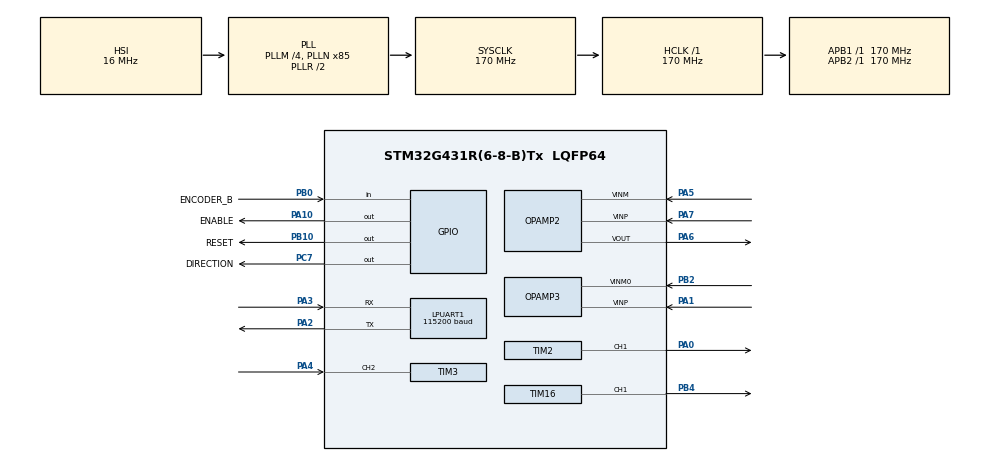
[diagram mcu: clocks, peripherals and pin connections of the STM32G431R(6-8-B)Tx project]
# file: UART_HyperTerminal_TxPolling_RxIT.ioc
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ADC2.Channel-1\#ChannelRegularConversion=ADC_CHANNEL_VOPAMP3_ADC2
ADC2.NbrOfConversionFlag=1
ADC2.OffsetNumber-1\#ChannelRegularConversion=ADC_OFFSET_NONE
ADC2.Rank-1\#ChannelRegularConversion=1
ADC2.SamplingTime-1\#ChannelRegularConversion=ADC_SAMPLETIME_640CYCLES_5
LPUART1.BaudRate=115200
LPUART1.DMADisableonRxErrorParam-Asynchronous=UART_ADVFEATURE_DMA_ENABLEONRXERROR
LPUART1.DataInvertParam-Asynchronous=UART_ADVFEATURE_DATAINV_DISABLE
LPUART1.MSBFirstParam-Asynchronous=UART_ADVFEATURE_MSBFIRST_DISABLE
LPUART1.Mode-Asynchronous=UART_MODE_TX_RX
LPUART1.OneBitSampling=UART_ONE_BIT_SAMPLE_DISABLE
LPUART1.OverrunDisableParam-Asynchronous=UART_ADVFEATURE_OVERRUN_ENABLE
LPUART1.Parity=UART_PARITY_EVEN
LPUART1.Parity-Asynchronous=UART_PARITY_ODD
LPUART1.RXFIFOThreshold-Asynchronous=UART_RXFIFO_THRESHOLD_1_8
LPUART1.RxPinLevelInvertParam-Asynchronous=UART_ADVFEATURE_RXINV_DISABLE
LPUART1.StopBits-Asynchronous=UART_STOPBITS_1
LPUART1.SwapParam-Asynchronous=UART_ADVFEATURE_SWAP_DISABLE
LPUART1.TXFIFOThreshold-Asynchronous=UART_TXFIFO_THRESHOLD_1_8
LPUART1.TxPinLevelInvertParam-Asynchronous=UART_ADVFEATURE_TXINV_DISABLE
LPUART1.WordLength=UART_WORDLENGTH_9B
Mcu.Family=STM32G4
Mcu.Name=STM32G431R(6-8-B)Tx
Mcu.Package=LQFP64
NVIC.LPUART1_IRQn=true\:1\:0\:true\:false\:true\:true\:true
NVIC.PriorityGroup=NVIC_PRIORITYGROUP_4
NVIC.TIM3_IRQn=true\:5\:0\:true\:false\:true\:true\:true
OPAMP3.PgaGain=OPAMP_PGA_GAIN_8_OR_MINUS_7
PA0.Signal=S_TIM2_CH1
PA1.Mode=PGA_Internally_Connected
PA1.Signal=OPAMP3_VINP
PA10.GPIO_Label=ENABLE
PA10.GPIO_ModeDefaultOutputPP=GPIO_MODE_OUTPUT_OD
PA10.GPIO_PuPd=GPIO_PULLUP
PA10.PinState=GPIO_PIN_RESET
PA10.Signal=GPIO_Output
PA2.Mode=Asynchronous
PA2.Signal=LPUART1_TX
PA3.Mode=Asynchronous
PA3.Signal=LPUART1_RX
PA4.Signal=S_TIM3_CH2
PA5.Mode=Standalone
PA5.Signal=OPAMP2_VINM
PA6.Mode=Standalone
PA6.Signal=OPAMP2_VOUT
PA7.Mode=Standalone
PA7.Signal=OPAMP2_VINP
PB0.GPIO_Label=ENCODER_B
PB0.Signal=GPIO_Input
PB10.GPIO_Label=RESET
PB10.GPIO_ModeDefaultOutputPP=GPIO_MODE_OUTPUT_PP
PB10.GPIO_Speed=GPIO_SPEED_FREQ_LOW
PB10.Signal=GPIO_Output
PB2.Mode=PGA_Internally_Connected
PB2.Signal=OPAMP3_VINM0
PB4.Signal=S_TIM16_CH1
PC14-OSC32_IN.Mode=LSE-External-Oscillator
PC14-OSC32_IN.Signal=RCC_OSC32_IN
PC15-OSC32_OUT.Mode=LSE-External-Oscillator
PC15-OSC32_OUT.Signal=RCC_OSC32_OUT
PC7.GPIO_Label=DIRECTION
PC7.GPIO_ModeDefaultOutputPP=GPIO_MODE_OUTPUT_OD
PC7.GPIO_PuPd=GPIO_PULLUP
PC7.Signal=GPIO_Output
PF0-OSC_IN.Mode=HSE-External-Oscillator
PF0-OSC_IN.Signal=RCC_OSC_IN
PF1-OSC_OUT.Mode=HSE-External-Oscillator
PF1-OSC_OUT.Signal=RCC_OSC_OUT
ProjectManager.HeapSize=0x200
ProjectManager.StackSize=0x400
ProjectManager.TargetToolchain=STM32CubeIDE
RCC.ADC12Freq_Value=170000000
RCC.AHBFreq_Value=170000000
RCC.APB1Freq_Value=170000000
RCC.APB1TimFreq_Value=170000000
RCC.APB2Freq_Value=170000000
RCC.APB2TimFreq_Value=170000000
RCC.CortexFreq_Value=170000000
RCC.EXTERNAL_CLOCK_VALUE=12288000
RCC.HCLKFreq_Value=170000000
RCC.HSE_VALUE=24000000
RCC.HSI48_VALUE=48000000
RCC.HSI_VALUE=16000000
RCC.PLLM=RCC_PLLM_DIV4
RCC.PLLN=85
RCC.SYSCLKFreq_VALUE=170000000
RCC.SYSCLKSource=RCC_SYSCLKSOURCE_PLLCLK
RCC.USBFreq_Value=170000000
RCC.VCOOutputFreq_Value=340000000
SH.S_TIM16_CH1.0=TIM16_CH1,PWM Generation1 CH1
SH.S_TIM2_CH1.0=TIM2_CH1,PWM Generation1 CH1
SH.S_TIM3_CH2.0=TIM3_CH2,Input_Capture2_from_TI2
TIM16.Channel=TIM_CHANNEL_1
TIM16.PeriodNoDither=2200
TIM2.Channel-PWM\ Generation1\ CH1=TIM_CHANNEL_1
TIM2.PeriodNoDither=1700
TIM2.Prescaler=0
TIM2.PulseNoDither_1=1700
TIM3.Channel-Input_Capture2_from_TI2=TIM_CHANNEL_2
TIM3.ICPolarity_CH2=TIM_INPUTCHANNELPOLARITY_BOTHEDGE
TIM3.PeriodNoDither=0xffff
TIM3.Prescaler=170
VP_ADC2_OPAMP_INTERNAL3.Mode=IN-OPAMP3
VP_SYS_VS_DBSignals.Mode=DisableDeadBatterySignals
VP_TIM16_VS_ClockSourceINT.Mode=Enable_Timer
VP_TIM3_VS_ClockSourceINT.Mode=Internal
board=custom

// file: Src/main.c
/* USER CODE BEGIN Header */
/**
 ******************************************************************************
 * @file    UART/UART_HyperTerminal_TxPolling_RxIT/Src/main.c
 * @author  MCD Application Team
 * @brief   This sample code shows how to use UART HAL and LL APIs to transmit
 *          data in polling mode while receiving data in Interrupt mode, by mixing
 *          use of LL and HAL APIs;
 *          HAL driver is used to perform UART configuration,
 *          then TX transfer procedure is based on HAL APIs use (polling)
 *               RX transfer procedure is based on LL APIs use (IT)
 ******************************************************************************
 * @attention
 *
 * <h2><center>&copy; Copyright (c) 2019 STMicroelectronics.
 * All rights reserved.</center></h2>
 *
 * This software component is licensed by ST under BSD 3-Clause license,
 * the "License"; You may not use this file except in compliance with the
 * License. You may obtain a copy of the License at:
 *                        opensource.org/licenses/BSD-3-Clause
 *
 ******************************************************************************
 */
/* USER CODE END Header */
#include "main.h"

/* USER CODE BEGIN PD */

/* corretti */

//#define Kp_position 2
//#define Ki_position 0.003
//
//#define Kp_RPM 2
//#define Ki_RPM 0.002
//
//#define Kp_current 3
//#define Ki_current 0.003

//#define Kp_position 4
//#define Ki_position 0.01
//
//#define Kp_RPM 7
//#define Ki_RPM 0.03
//
//#define Kp_current 5
//#define Ki_current 0.1

//
#define Kp_position 7
#define Ki_position 0.003

#define Kp_RPM 8
#define Ki_RPM 0.002

#define Kp_current 6
#define Ki_current 0.001

/* USER CODE END PD */

ADC_HandleTypeDef hadc2;

UART_HandleTypeDef hlpuart1;

OPAMP_HandleTypeDef hopamp2;
OPAMP_HandleTypeDef hopamp3;

TIM_HandleTypeDef htim2;
TIM_HandleTypeDef htim3;
TIM_HandleTypeDef htim16;

/* USER CODE BEGIN PV */

/* Buffer used for transmission
uint8_t aTxStartMessage[] = "\n\r **** ciao ****\n\r Enter characters using keyboard ...\n\r";
uint8_t ubSizeToSend = sizeof(aTxStartMessage); */

uint8_t b = 'b';
uint8_t e = 'e';

/* Buffer used for reception */
uint8_t aRXBufferA[RX_BUFFER_SIZE];
uint8_t aRXBufferB[RX_BUFFER_SIZE];
__IO uint32_t uwNbReceivedChars = 0;
__IO uint32_t uwBufferReadyIndication = 0;
uint8_t *pBufferReadyForUser;
uint8_t *pBufferReadyForReception;

int16_t pulse;
float voltage;
uint32_t force;
uint16_t control;
uint16_t duty;
uint32_t buffer;

float rms = 0;
float value = 0;

/* Captured Values */
uint32_t uwIC2Value1 = 0;
uint32_t uwIC2Value2 = 0;
uint32_t uwDiffCapture = 0;

/* Capture index */
uint16_t uhCaptureIndex = 0;

/* Frequency Value */
uint32_t uwFrequency = 0;

/* Speed in Revloution per minute */
int16_t RPM_target = 0;
int16_t RPM_read = 0;

int16_t  error_RPM;
int16_t Integral_error_RPM=0;

/* Current */
int16_t current_target = 0;
int16_t current_read = 0;

int16_t  error_current;
int16_t Integral_error_current=0;

/* Position */
int16_t Encoder_position = 0;
int16_t error_position;
int16_t Position_target = 0;
int16_t Position_read = 0;
int16_t Integral_error_position;

uint16_t gu16_TIM2_OVC;
uint16_t raw;
uint8_t masage[100];

uint8_t stop_flag;

uint16_t previous_time = 0;
uint16_t current_time = 0;
uint16_t elapsed_time = 0;
/* USER CODE END PV */

void SystemClock_Config(void);
static void MX_GPIO_Init(void);
static void MX_LPUART1_UART_Init(void);
static void MX_TIM3_Init(void);
static void MX_TIM16_Init(void);
static void MX_TIM2_Init(void);
static void MX_OPAMP2_Init(void);
static void MX_ADC2_Init(void);
static void MX_OPAMP3_Init(void);

int main(void)
{
  /* USER CODE BEGIN 1 */

	/* STM32G4xx HAL library initialization:
       - Configure the Flash prefetch
       - Systick timer is configured by default as source of time base, but user
         can eventually implement his proper time base source (a general purpose
         timer for example or other time source), keeping in mind that Time base
         duration should be kept 1ms since PPP_TIMEOUT_VALUEs are defined and
         handled in milliseconds basis.
       - Set NVIC Group Priority to 4
       - Low Level Initialization
	 */
  /* USER CODE END 1 */

  /* MCU Configuration--------------------------------------------------------*/

  /* Reset of all peripherals, Initializes the Flash interface and the Systick. */
  HAL_Init();

  /* USER CODE BEGIN Init */
	/* Configure leds */
	BSP_LED_Init(LED2);

  /* USER CODE END Init */

  /* Configure the system clock */
  SystemClock_Config();

  /* Initialize all configured peripherals */
  MX_GPIO_Init();
  MX_LPUART1_UART_Init();
  MX_TIM3_Init();
  MX_TIM16_Init();
  MX_TIM2_Init();
  MX_OPAMP2_Init();
  MX_ADC2_Init();
  MX_OPAMP3_Init();
  /* USER CODE BEGIN 2 */

	/*## Configure UART peripheral for reception process (using LL) ##########*/
	/* Initializes Buffer swap mechanism :
     2 physical buffers aRXBufferA and aRXBufferB (RX_BUFFER_SIZE length)
     Any data received will be stored in active buffer : the number max of
     data received is RX_BUFFER_SIZE */
	pBufferReadyForReception = aRXBufferA;
	pBufferReadyForUser      = aRXBufferB;
	uwNbReceivedChars = 0;
	uwBufferReadyIndication = 0;
	pulse = 0;
	voltage = 0;
	/* Enable RXNE and Error interrupts */
	LL_USART_EnableIT_RXNE(LPUART1);
	LL_USART_EnableIT_ERROR(LPUART1);

	if(HAL_TIM_IC_Start_IT(&htim3, TIM_CHANNEL_2) != HAL_OK)
	{
		/* Starting Error */
		Error_Handler();
	}

	if(HAL_TIM_IC_Start_IT(&htim3, TIM_CHANNEL_3) != HAL_OK)
	{
		/* Starting Error */
		Error_Handler();
	}

	/*##- Start OPAMP    #####################################################*/
	/* Enable OPAMP */
	if(HAL_OK != HAL_OPAMP_Start(&hopamp2))
	{
		Error_Handler();
	}

	if(HAL_OK != HAL_OPAMP_Start(&hopamp3))
		{
			Error_Handler();
		}

	HAL_GPIO_WritePin(GPIOA, GPIO_PIN_10,1);
    // Calibrate The ADC On Power-Up For Better Accuracy

//    HAL_ADCEx_Calibration_Start(&hadc2);

	if(HAL_TIM_PWM_Start(&htim16, TIM_CHANNEL_1) != HAL_OK)
	{
		/* Starting Error */
		Error_Handler();
	}

	if(HAL_TIM_PWM_Start(&htim2, TIM_CHANNEL_1) != HAL_OK)
	{
		/* Starting Error */
		Error_Handler();
	}

	HAL_GPIO_WritePin(GPIOC, GPIO_PIN_7, 1);
	HAL_GPIO_WritePin(GPIOB, GPIO_PIN_10, 1);

  /* USER CODE END 2 */

  /* Infinite loop */
  /* USER CODE BEGIN WHILE */
	while (1)
	{
		current_time = HAL_GetTick();
		elapsed_time = current_time - previous_time;
//		HAL_Delay(10);

		/* Transmission begin */
		if(HAL_UART_Transmit(&hlpuart1, &b, 1, 1000)!= HAL_OK)
		{
			/* Transfer error in transmission process */
			Error_Handler();
		}

		/* Send Duty Cycle */
//		if(HAL_UART_Transmit(&hlpuart1, &duty, 2, 1000)!= HAL_OK)
//		{
//			/* Transfer error in transmission process */
//			Error_Handler();
//		}

		if(HAL_UART_Transmit(&hlpuart1, &current_read, 2, 1000)!= HAL_OK)
		{
			/* Transfer error in transmission process */
			Error_Handler();
		}

//	    HAL_UART_Transmit(&hlpuart1, masage, sprintf(masage,"%d\n\r", buffer),1000);

		if(HAL_UART_Transmit(&hlpuart1, &Position_target, 2, 1000)!= HAL_OK)
		{
			/* Transfer error in transmission process */
			Error_Handler();
		}

		if(HAL_UART_Transmit(&hlpuart1, &Position_read, 2, 1000)!= HAL_OK)
		{
			/* Transfer error in transmission process */
			Error_Handler();
		}
//
		if(HAL_UART_Transmit(&hlpuart1, &RPM_read, 2, 1000)!= HAL_OK)
		{
			/* Transfer error in transmission process */
			Error_Handler();
		}

		if(HAL_UART_Transmit(&hlpuart1, &e, 1, 1000)!= HAL_OK)
		{
			/* Transfer error in transmission process */
			Error_Handler();
		}

		/* Checks if Buffer full indication has been set */
		if (uwBufferReadyIndication != 0)
		{
			/* Reset indication */
			uwBufferReadyIndication = 0;

			/* USART IRQ handler is not anymore routed to HAL_UART_IRQHandler() function
         and is now based on LL API functions use.
         Therefore, use of HAL IT based services is no more possible : use TX HAL polling services */

			/* Increase Duty Cycle */
			if(*pBufferReadyForUser== 'i')	{
				Position_target += 45;
			}

			/* Decrease Duty Cycle */
			if(*pBufferReadyForUser== 'd')	{
				Position_target -= 45;
			}

			/* Data received Stop ('s'), Clockwise('c'), Counterclockwise('k') */
			if(*pBufferReadyForUser== 'x'|| *pBufferReadyForUser== 'c' || *pBufferReadyForUser== 'k')
			{

				/* Electric Brake for 6 */
				if(*pBufferReadyForUser== 'x')	{
					pulse = 0;
					RPM_target = 0;
					RPM_read = 0;
					Position_target = 0;
					Position_read = 0;
					Encoder_position = 0;
					current_read = 0;
					current_target = 0;
					duty = 0;
					stop_flag = 1;
					elapsed_time = 0;
					previous_time = 0;
					current_time = 0;
					error_position = 0;
					Integral_error_RPM = 0;
					error_current = 0;
					error_RPM = 0;
					Integral_error_current = 0;
					Integral_error_position = 0;

				}

				/* Clockwise */
				if(*pBufferReadyForUser == 'c')
				{
					HAL_GPIO_WritePin(GPIOB, GPIO_PIN_10, 0);
				}

				/* Counterclockwise */
				if(*pBufferReadyForUser== 'k')	{
					HAL_GPIO_WritePin(GPIOB, GPIO_PIN_10, 1);
				}
			}
			/* Toggle LED2 */
			BSP_LED_Toggle(LED2);
		}

		Position_read = (Encoder_position);
		error_position = (Position_target*24) - Position_read;
		Integral_error_position += error_position*elapsed_time;
		/* Sum proportional and integral part Kp = 10 and Ki = 0.0001  */
		RPM_target += Kp_position*error_position + Ki_position*Integral_error_position;

		if(RPM_target>25)	{
			RPM_target = 25;
		}
		else if(RPM_target<-25)	{
			RPM_target = -25;
		}

		/* Speed error between speed target and real speed of the system */
		error_RPM = RPM_target - RPM_read;
		/* Error for ingeral part */
		Integral_error_RPM += error_RPM*elapsed_time;
		/* Sum proportional and integral part Kp = 10 and Ki = 0.0001  */
		current_target += Kp_RPM*error_RPM + Ki_RPM*Integral_error_RPM;

		if(current_target>1000)	{
			current_target = 1000;
		}
		if(current_target<-1000)	{
			current_target = -1000;
		}
		rms = 0;

		/* Get ADC value */
		/* Slow decay create 0 V */
		for(uint8_t j=0; j<100; j++){

//			HAL_Delay(2);
			HAL_ADC_Start(&hadc2);
			HAL_ADC_PollForConversion(&hadc2, HAL_MAX_DELAY);

			value = HAL_ADC_GetValue(&hadc2);
			value = (value)/1240;
			value = value*value;
			rms = rms + value;
		}

	    voltage = sqrt(rms)/10;
		/* 375 = 3.03 * 1000 / 8 */
		current_read = (voltage * 380);

		if(RPM_read<0)	{
			current_read = current_read*(-1);
		}

		/* Speed error between speed target and real speed of the system */
		error_current = current_target - current_read;
		Integral_error_current += error_current*elapsed_time;
		pulse += Kp_current*error_current + Ki_current*Integral_error_current;

		if(pulse>2150)	{
			pulse = 2200;
		}
		if(pulse<-2150)	{
			pulse = -2200;
		}

		/* Saturation */

		if(pulse<0)	{
			HAL_GPIO_WritePin(GPIOB, GPIO_PIN_10, 1);
			duty = pulse*(-1);
		}
		else	{
			HAL_GPIO_WritePin(GPIOB, GPIO_PIN_10, 0);
			duty = pulse;
		}

		if(error_position < 600 && error_position > - 600)	{
			duty = duty - 700;
		}

		if(error_position < 300 && error_position > - 300)	{
			duty = duty - 300;
		}

		if(pulse == 0 || stop_flag == 1 || (error_position < 10 && error_position > -10))  {
			duty = 0;
			stop_flag = 0;
			elapsed_time = 0;
			current_time = 0;
			previous_time = 0;

		}

		__HAL_TIM_SET_COMPARE(&htim16, TIM_CHANNEL_1, duty);

		previous_time = current_time;
    /* USER CODE END WHILE */

	}
}

void SystemClock_Config(void)
{
  RCC_OscInitTypeDef RCC_OscInitStruct = {0};
  RCC_ClkInitTypeDef RCC_ClkInitStruct = {0};
  RCC_PeriphCLKInitTypeDef PeriphClkInit = {0};

  /** Configure the main internal regulator output voltage
  */
  HAL_PWREx_ControlVoltageScaling(PWR_REGULATOR_VOLTAGE_SCALE1_BOOST);
  /** Initializes the RCC Oscillators according to the specified parameters
  * in the RCC_OscInitTypeDef structure.
  */
  RCC_OscInitStruct.OscillatorType = RCC_OSCILLATORTYPE_HSI;
  RCC_OscInitStruct.HSIState = RCC_HSI_ON;
  RCC_OscInitStruct.HSICalibrationValue = RCC_HSICALIBRATION_DEFAULT;
  RCC_OscInitStruct.PLL.PLLState = RCC_PLL_ON;
  RCC_OscInitStruct.PLL.PLLSource = RCC_PLLSOURCE_HSI;
  RCC_OscInitStruct.PLL.PLLM = RCC_PLLM_DIV4;
  RCC_OscInitStruct.PLL.PLLN = 85;
  RCC_OscInitStruct.PLL.PLLP = RCC_PLLP_DIV2;
  RCC_OscInitStruct.PLL.PLLQ = RCC_PLLQ_DIV2;
  RCC_OscInitStruct.PLL.PLLR = RCC_PLLR_DIV2;
  if (HAL_RCC_OscConfig(&RCC_OscInitStruct) != HAL_OK)
  {
    Error_Handler();
  }
  /** Initializes the CPU, AHB and APB buses clocks
  */
  RCC_ClkInitStruct.ClockType = RCC_CLOCKTYPE_HCLK|RCC_CLOCKTYPE_SYSCLK
                              |RCC_CLOCKTYPE_PCLK1|RCC_CLOCKTYPE_PCLK2;
  RCC_ClkInitStruct.SYSCLKSource = RCC_SYSCLKSOURCE_PLLCLK;
  RCC_ClkInitStruct.AHBCLKDivider = RCC_SYSCLK_DIV1;
  RCC_ClkInitStruct.APB1CLKDivider = RCC_HCLK_DIV1;
  RCC_ClkInitStruct.APB2CLKDivider = RCC_HCLK_DIV1;

  if (HAL_RCC_ClockConfig(&RCC_ClkInitStruct, FLASH_LATENCY_4) != HAL_OK)
  {
    Error_Handler();
  }
  /** Initializes the peripherals clocks
  */
  PeriphClkInit.PeriphClockSelection = RCC_PERIPHCLK_LPUART1|RCC_PERIPHCLK_ADC12;
  PeriphClkInit.Lpuart1ClockSelection = RCC_LPUART1CLKSOURCE_PCLK1;
  PeriphClkInit.Adc12ClockSelection = RCC_ADC12CLKSOURCE_SYSCLK;
  if (HAL_RCCEx_PeriphCLKConfig(&PeriphClkInit) != HAL_OK)
  {
    Error_Handler();
  }
}

static void MX_ADC2_Init(void)
{

  ADC_ChannelConfTypeDef sConfig = {0};

  /** Common config
  */
  hadc2.Instance = ADC2;
  hadc2.Init.ClockPrescaler = ADC_CLOCK_SYNC_PCLK_DIV4;
  hadc2.Init.Resolution = ADC_RESOLUTION_12B;
  hadc2.Init.DataAlign = ADC_DATAALIGN_RIGHT;
  hadc2.Init.GainCompensation = 0;
  hadc2.Init.ScanConvMode = ADC_SCAN_DISABLE;
  hadc2.Init.EOCSelection = ADC_EOC_SINGLE_CONV;
  hadc2.Init.LowPowerAutoWait = DISABLE;
  hadc2.Init.ContinuousConvMode = DISABLE;
  hadc2.Init.NbrOfConversion = 1;
  hadc2.Init.DiscontinuousConvMode = DISABLE;
  hadc2.Init.ExternalTrigConv = ADC_SOFTWARE_START;
  hadc2.Init.ExternalTrigConvEdge = ADC_EXTERNALTRIGCONVEDGE_NONE;
  hadc2.Init.DMAContinuousRequests = DISABLE;
  hadc2.Init.Overrun = ADC_OVR_DATA_PRESERVED;
  hadc2.Init.OversamplingMode = DISABLE;
  if (HAL_ADC_Init(&hadc2) != HAL_OK)
  {
    Error_Handler();
  }
  /** Configure Regular Channel
  */
  sConfig.Channel = ADC_CHANNEL_VOPAMP3_ADC2;
  sConfig.Rank = ADC_REGULAR_RANK_1;
  sConfig.SamplingTime = ADC_SAMPLETIME_640CYCLES_5;
  sConfig.SingleDiff = ADC_SINGLE_ENDED;
  sConfig.OffsetNumber = ADC_OFFSET_NONE;
  sConfig.Offset = 0;
  if (HAL_ADC_ConfigChannel(&hadc2, &sConfig) != HAL_OK)
  {
    Error_Handler();
  }

}

static void MX_LPUART1_UART_Init(void)
{

  hlpuart1.Instance = LPUART1;
  hlpuart1.Init.BaudRate = 115200;
  hlpuart1.Init.WordLength = UART_WORDLENGTH_9B;
  hlpuart1.Init.StopBits = UART_STOPBITS_1;
  hlpuart1.Init.Parity = UART_PARITY_EVEN;
  hlpuart1.Init.Mode = UART_MODE_TX_RX;
  hlpuart1.Init.HwFlowCtl = UART_HWCONTROL_NONE;
  hlpuart1.Init.OneBitSampling = UART_ONE_BIT_SAMPLE_DISABLE;
  hlpuart1.AdvancedInit.AdvFeatureInit = UART_ADVFEATURE_NO_INIT;
  if (HAL_UART_Init(&hlpuart1) != HAL_OK)
  {
    Error_Handler();
  }
  if (HAL_UARTEx_SetTxFifoThreshold(&hlpuart1, UART_TXFIFO_THRESHOLD_1_8) != HAL_OK)
  {
    Error_Handler();
  }
  if (HAL_UARTEx_SetRxFifoThreshold(&hlpuart1, UART_RXFIFO_THRESHOLD_1_8) != HAL_OK)
  {
    Error_Handler();
  }
  if (HAL_UARTEx_DisableFifoMode(&hlpuart1) != HAL_OK)
  {
    Error_Handler();
  }

}

static void MX_OPAMP2_Init(void)
{

  hopamp2.Instance = OPAMP2;
  hopamp2.Init.PowerMode = OPAMP_POWERMODE_NORMAL;
  hopamp2.Init.Mode = OPAMP_STANDALONE_MODE;
  hopamp2.Init.InvertingInput = OPAMP_INVERTINGINPUT_IO0;
  hopamp2.Init.NonInvertingInput = OPAMP_NONINVERTINGINPUT_IO0;
  hopamp2.Init.InternalOutput = DISABLE;
  hopamp2.Init.TimerControlledMuxmode = OPAMP_TIMERCONTROLLEDMUXMODE_DISABLE;
  hopamp2.Init.UserTrimming = OPAMP_TRIMMING_FACTORY;
  if (HAL_OPAMP_Init(&hopamp2) != HAL_OK)
  {
    Error_Handler();
  }

}

static void MX_OPAMP3_Init(void)
{

  hopamp3.Instance = OPAMP3;
  hopamp3.Init.PowerMode = OPAMP_POWERMODE_NORMAL;
  hopamp3.Init.Mode = OPAMP_PGA_MODE;
  hopamp3.Init.NonInvertingInput = OPAMP_NONINVERTINGINPUT_IO2;
  hopamp3.Init.InternalOutput = ENABLE;
  hopamp3.Init.TimerControlledMuxmode = OPAMP_TIMERCONTROLLEDMUXMODE_DISABLE;
  hopamp3.Init.PgaConnect = OPAMP_PGA_CONNECT_INVERTINGINPUT_IO0;
  hopamp3.Init.PgaGain = OPAMP_PGA_GAIN_8_OR_MINUS_7;
  hopamp3.Init.UserTrimming = OPAMP_TRIMMING_FACTORY;
  if (HAL_OPAMP_Init(&hopamp3) != HAL_OK)
  {
    Error_Handler();
  }

}

static void MX_TIM2_Init(void)
{

  TIM_MasterConfigTypeDef sMasterConfig = {0};
  TIM_OC_InitTypeDef sConfigOC = {0};

  htim2.Instance = TIM2;
  htim2.Init.Prescaler = 0;
  htim2.Init.CounterMode = TIM_COUNTERMODE_UP;
  htim2.Init.Period = 1700;
  htim2.Init.ClockDivision = TIM_CLOCKDIVISION_DIV1;
  htim2.Init.AutoReloadPreload = TIM_AUTORELOAD_PRELOAD_DISABLE;
  if (HAL_TIM_PWM_Init(&htim2) != HAL_OK)
  {
    Error_Handler();
  }
  sMasterConfig.MasterOutputTrigger = TIM_TRGO_RESET;
  sMasterConfig.MasterSlaveMode = TIM_MASTERSLAVEMODE_DISABLE;
  if (HAL_TIMEx_MasterConfigSynchronization(&htim2, &sMasterConfig) != HAL_OK)
  {
    Error_Handler();
  }
  sConfigOC.OCMode = TIM_OCMODE_PWM1;
  sConfigOC.Pulse = 1700;
  sConfigOC.OCPolarity = TIM_OCPOLARITY_HIGH;
  sConfigOC.OCFastMode = TIM_OCFAST_DISABLE;
  if (HAL_TIM_PWM_ConfigChannel(&htim2, &sConfigOC, TIM_CHANNEL_1) != HAL_OK)
  {
    Error_Handler();
  }
  HAL_TIM_MspPostInit(&htim2);

}

static void MX_TIM3_Init(void)
{

  TIM_ClockConfigTypeDef sClockSourceConfig = {0};
  TIM_MasterConfigTypeDef sMasterConfig = {0};
  TIM_IC_InitTypeDef sConfigIC = {0};

  htim3.Instance = TIM3;
  htim3.Init.Prescaler = 170;
  htim3.Init.CounterMode = TIM_COUNTERMODE_UP;
  htim3.Init.Period = 65535;
  htim3.Init.ClockDivision = TIM_CLOCKDIVISION_DIV1;
  htim3.Init.AutoReloadPreload = TIM_AUTORELOAD_PRELOAD_DISABLE;
  if (HAL_TIM_Base_Init(&htim3) != HAL_OK)
  {
    Error_Handler();
  }
  sClockSourceConfig.ClockSource = TIM_CLOCKSOURCE_INTERNAL;
  if (HAL_TIM_ConfigClockSource(&htim3, &sClockSourceConfig) != HAL_OK)
  {
    Error_Handler();
  }
  if (HAL_TIM_IC_Init(&htim3) != HAL_OK)
  {
    Error_Handler();
  }
  sMasterConfig.MasterOutputTrigger = TIM_TRGO_RESET;
  sMasterConfig.MasterSlaveMode = TIM_MASTERSLAVEMODE_DISABLE;
  if (HAL_TIMEx_MasterConfigSynchronization(&htim3, &sMasterConfig) != HAL_OK)
  {
    Error_Handler();
  }
  sConfigIC.ICPolarity = TIM_INPUTCHANNELPOLARITY_BOTHEDGE;
  sConfigIC.ICSelection = TIM_ICSELECTION_DIRECTTI;
  sConfigIC.ICPrescaler = TIM_ICPSC_DIV1;
  sConfigIC.ICFilter = 0;
  if (HAL_TIM_IC_ConfigChannel(&htim3, &sConfigIC, TIM_CHANNEL_2) != HAL_OK)
  {
    Error_Handler();
  }

}

static void MX_TIM16_Init(void)
{

  TIM_OC_InitTypeDef sConfigOC = {0};
  TIM_BreakDeadTimeConfigTypeDef sBreakDeadTimeConfig = {0};

  htim16.Instance = TIM16;
  htim16.Init.Prescaler = 0;
  htim16.Init.CounterMode = TIM_COUNTERMODE_UP;
  htim16.Init.Period = 2200;
  htim16.Init.ClockDivision = TIM_CLOCKDIVISION_DIV1;
  htim16.Init.RepetitionCounter = 0;
  htim16.Init.AutoReloadPreload = TIM_AUTORELOAD_PRELOAD_DISABLE;
  if (HAL_TIM_Base_Init(&htim16) != HAL_OK)
  {
    Error_Handler();
  }
  if (HAL_TIM_PWM_Init(&htim16) != HAL_OK)
  {
    Error_Handler();
  }
  sConfigOC.OCMode = TIM_OCMODE_PWM1;
  sConfigOC.Pulse = 0;
  sConfigOC.OCPolarity = TIM_OCPOLARITY_HIGH;
  sConfigOC.OCNPolarity = TIM_OCNPOLARITY_HIGH;
  sConfigOC.OCFastMode = TIM_OCFAST_DISABLE;
  sConfigOC.OCIdleState = TIM_OCIDLESTATE_RESET;
  sConfigOC.OCNIdleState = TIM_OCNIDLESTATE_RESET;
  if (HAL_TIM_PWM_ConfigChannel(&htim16, &sConfigOC, TIM_CHANNEL_1) != HAL_OK)
  {
    Error_Handler();
  }
  sBreakDeadTimeConfig.OffStateRunMode = TIM_OSSR_DISABLE;
  sBreakDeadTimeConfig.OffStateIDLEMode = TIM_OSSI_DISABLE;
  sBreakDeadTimeConfig.LockLevel = TIM_LOCKLEVEL_OFF;
  sBreakDeadTimeConfig.DeadTime = 0;
  sBreakDeadTimeConfig.BreakState = TIM_BREAK_DISABLE;
  sBreakDeadTimeConfig.BreakPolarity = TIM_BREAKPOLARITY_HIGH;
  sBreakDeadTimeConfig.BreakFilter = 0;
  sBreakDeadTimeConfig.AutomaticOutput = TIM_AUTOMATICOUTPUT_DISABLE;
  if (HAL_TIMEx_ConfigBreakDeadTime(&htim16, &sBreakDeadTimeConfig) != HAL_OK)
  {
    Error_Handler();
  }
  HAL_TIM_MspPostInit(&htim16);

}

static void MX_GPIO_Init(void)
{
  GPIO_InitTypeDef GPIO_InitStruct = {0};

  /* GPIO Ports Clock Enable */
  __HAL_RCC_GPIOC_CLK_ENABLE();
  __HAL_RCC_GPIOF_CLK_ENABLE();
  __HAL_RCC_GPIOA_CLK_ENABLE();
  __HAL_RCC_GPIOB_CLK_ENABLE();

  /*Configure GPIO pin Output Level */
  HAL_GPIO_WritePin(RESET_GPIO_Port, RESET_Pin, GPIO_PIN_RESET);

  /*Configure GPIO pin Output Level */
  HAL_GPIO_WritePin(DIRECTION_GPIO_Port, DIRECTION_Pin, GPIO_PIN_RESET);

  /*Configure GPIO pin Output Level */
  HAL_GPIO_WritePin(ENABLE_GPIO_Port, ENABLE_Pin, GPIO_PIN_RESET);

  /*Configure GPIO pin : ENCODER_B_Pin */
  GPIO_InitStruct.Pin = ENCODER_B_Pin;
  GPIO_InitStruct.Mode = GPIO_MODE_INPUT;
  GPIO_InitStruct.Pull = GPIO_NOPULL;
  HAL_GPIO_Init(ENCODER_B_GPIO_Port, &GPIO_InitStruct);

  /*Configure GPIO pin : RESET_Pin */
  GPIO_InitStruct.Pin = RESET_Pin;
  GPIO_InitStruct.Mode = GPIO_MODE_OUTPUT_PP;
  GPIO_InitStruct.Pull = GPIO_NOPULL;
  GPIO_InitStruct.Speed = GPIO_SPEED_FREQ_LOW;
  HAL_GPIO_Init(RESET_GPIO_Port, &GPIO_InitStruct);

  /*Configure GPIO pin : DIRECTION_Pin */
  GPIO_InitStruct.Pin = DIRECTION_Pin;
  GPIO_InitStruct.Mode = GPIO_MODE_OUTPUT_OD;
  GPIO_InitStruct.Pull = GPIO_PULLUP;
  GPIO_InitStruct.Speed = GPIO_SPEED_FREQ_LOW;
  HAL_GPIO_Init(DIRECTION_GPIO_Port, &GPIO_InitStruct);

  /*Configure GPIO pin : ENABLE_Pin */
  GPIO_InitStruct.Pin = ENABLE_Pin;
  GPIO_InitStruct.Mode = GPIO_MODE_OUTPUT_OD;
  GPIO_InitStruct.Pull = GPIO_PULLUP;
  GPIO_InitStruct.Speed = GPIO_SPEED_FREQ_LOW;
  HAL_GPIO_Init(ENABLE_GPIO_Port, &GPIO_InitStruct);

}

/* USER CODE BEGIN 4 */

void HAL_TIM_IC_CaptureCallback(TIM_HandleTypeDef *htim)
{
	uint8_t negative_flag= 0;

	if (htim->Channel == HAL_TIM_ACTIVE_CHANNEL_2)	{
		if(HAL_GPIO_ReadPin(GPIOB, GPIO_PIN_0) == HAL_GPIO_ReadPin(GPIOA, GPIO_PIN_4)){
			Encoder_position ++;
		}
		else	{
			Encoder_position --;
			negative_flag = 1;
		}
		if(uhCaptureIndex == 0)	{
			/* Get the 1st Input Capture value */
			uwIC2Value1 = HAL_TIM_ReadCapturedValue(htim, TIM_CHANNEL_2);
			uhCaptureIndex = 1;
			gu16_TIM2_OVC = 0;
		}
		else if(uhCaptureIndex == 1)	{
			/* Get the 2nd Input Capture value */
			uwIC2Value2 = HAL_TIM_ReadCapturedValue(htim, TIM_CHANNEL_2);

			/* Capture computation */
			if (uwIC2Value2 > uwIC2Value1)	{
				uwDiffCapture = (uwIC2Value2 - uwIC2Value1);
			}
			else if (uwIC2Value2 < uwIC2Value1)	{
				/* 0xFFFF is max TIM1_CCRx value */
				uwDiffCapture = ((0xFFFF - uwIC2Value1) + uwIC2Value2) + 1;
				//				uwDiffCapture = ((0xFFFF * gu16_TIM2_OVC) + uwIC2Value2) - uwIC2Value1;
			}
			else	{
				/* If capture values are equal, we have reached the limit of frequency measures */
				Error_Handler();
			}

			/* Frequency computation: for this example TIMx (TIM1) is clocked by APB2Clk */
			uwFrequency = 1000000/ uwDiffCapture;
			RPM_read = (uwFrequency*60)/(32*131);
			if(negative_flag == 1){
				RPM_read = RPM_read*(-1);
			}
			uhCaptureIndex = 0;
		}
	}
}

//void HAL_TIM_PeriodElapsedCallback(TIM_HandleTypeDef *htim)
//{
//	gu16_TIM2_OVC++;
//}

/**
 * @brief  Rx Transfer completed callback
 * @note   This example shows a simple way to report end of IT Rx transfer, and
 *         you can add your own implementation.
 * @retval None
 */
void UART_CharReception_Callback(void)
{
	uint8_t *ptemp;

	/* Read Received character. RXNE flag is cleared by reading of RDR register */
	pBufferReadyForReception[uwNbReceivedChars++] = LL_USART_ReceiveData8(LPUART1);

	/* Checks if Buffer full indication has to be set */
	if (uwNbReceivedChars >= RX_BUFFER_SIZE)
	{
		/* Set Buffer swap indication */
		uwBufferReadyIndication = 1;

		/* Swap buffers for next bytes to be received */
		ptemp = pBufferReadyForUser;
		pBufferReadyForUser = pBufferReadyForReception;
		pBufferReadyForReception = ptemp;
		uwNbReceivedChars = 0;
	}
}

//void HAL_ADC_ConvCpltCallback(ADC_HandleTypeDef* hadc)
//{
//	uint8_t i;
//	uint32_t value=0;
//	uint32_t rms = 0;
//
//    // Read & Update The ADC Result
////	for(i=0; i<100; i++){
////
////		value = ((HAL_ADC_GetValue(&hadc2))*3.3)/(4095);
//////		HAL_Delay(1);
////		value = value * value;
////		rms = value + rms;
////	}
////    voltage = sqrt(rms)/10;
//}

//uint16_t PI_Target(uint16_t Read, uint16_t Target)
//{
//	uint16_t  Bias;
//	uint16_t Last_bias=0;
//	uint16_t PI=0;
//
//	Bias = Read - Target;
//	pulse += Kp*(Bias-Last_bias)+ Ki*Bias;
//	Last_bias = Bias;
//	return PI;
//}

/**
 * @brief  UART error callbacks
 * @note   This example shows a simple way to report transfer error, and you can
 *         add your own implementation.
 * @retval None
 */
void UART_Error_Callback(void)
{
	__IO uint32_t isr_reg;

	/* Disable USARTx_IRQn */
	NVIC_DisableIRQ(LPUART1_IRQn);

	/* Error handling example :
    - Read USART ISR register to identify flag that leads to IT raising
    - Perform corresponding error handling treatment according to flag
	 */
	isr_reg = LL_USART_ReadReg(LPUART1, ISR);
	if (isr_reg & LL_USART_ISR_NE)
	{
		/* Turn LED2 on: Transfer error in reception/transmission process */
		BSP_LED_On(LED2);
	}
	else
	{
		/* Turn LED2 on: Transfer error in reception/transmission process */
		BSP_LED_On(LED2);
	}
}

/* USER CODE END 4 */

void Error_Handler(void)
{
  /* USER CODE BEGIN Error_Handler_Debug */
	/* User can add his own implementation to report the HAL error return state */
	/* Turn LED2 to on for error */
	BSP_LED_On(LED2);
	while(1)
	{
	}
  /* USER CODE END Error_Handler_Debug */
}

/************************ (C) COPYRIGHT STMicroelectronics *****END OF FILE****/
